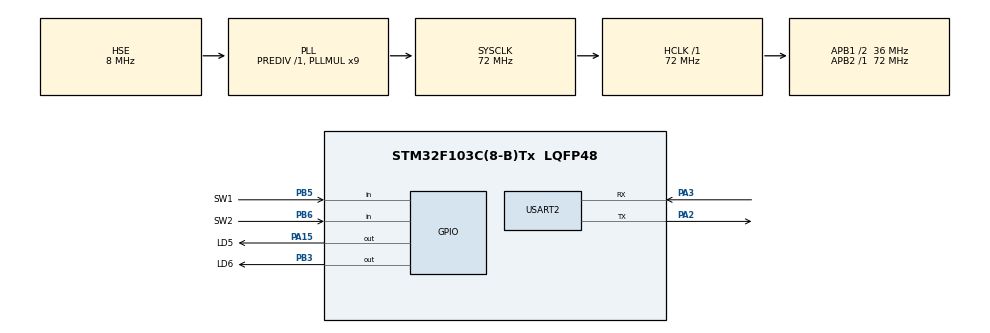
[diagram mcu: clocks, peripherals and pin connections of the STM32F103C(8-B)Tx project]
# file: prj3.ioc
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Mcu.Family=STM32F1
Mcu.Name=STM32F103C(8-B)Tx
Mcu.Package=LQFP48
NVIC.PriorityGroup=NVIC_PRIORITYGROUP_4
PA13.Mode=Serial_Wire
PA13.Signal=SYS_JTMS-SWDIO
PA14.Mode=Serial_Wire
PA14.Signal=SYS_JTCK-SWCLK
PA15.GPIO_Label=LD5
PA15.Signal=GPIO_Output
PA2.Mode=Asynchronous
PA2.Signal=USART2_TX
PA3.Mode=Asynchronous
PA3.Signal=USART2_RX
PB3.GPIO_Label=LD6
PB3.Signal=GPIO_Output
PB5.GPIO_Label=SW1
PB5.Signal=GPIO_Input
PB6.GPIO_Label=SW2
PB6.Signal=GPIO_Input
PD0-OSC_IN.Mode=HSE-External-Oscillator
PD0-OSC_IN.Signal=RCC_OSC_IN
PD1-OSC_OUT.Mode=HSE-External-Oscillator
PD1-OSC_OUT.Signal=RCC_OSC_OUT
ProjectManager.HeapSize=0x200
ProjectManager.StackSize=0x400
ProjectManager.TargetToolchain=MDK-ARM V5.32
RCC.AHBFreq_Value=72000000
RCC.APB1CLKDivider=RCC_HCLK_DIV2
RCC.APB1Freq_Value=36000000
RCC.APB1TimFreq_Value=72000000
RCC.APB2Freq_Value=72000000
RCC.APB2TimFreq_Value=72000000
RCC.HCLKFreq_Value=72000000
RCC.PLLMUL=RCC_PLL_MUL9
RCC.PLLSourceVirtual=RCC_PLLSOURCE_HSE
RCC.SYSCLKFreq_VALUE=72000000
RCC.SYSCLKSource=RCC_SYSCLKSOURCE_PLLCLK
RCC.USBFreq_Value=72000000
USART2.VirtualMode=VM_ASYNC
board=custom

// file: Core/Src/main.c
/* USER CODE BEGIN Header */
/**
  ******************************************************************************
  * @file           : main.c
  * @brief          : Main program body
  ******************************************************************************
  * @attention
  *
  * Copyright (c) 2024 STMicroelectronics.
  * All rights reserved.
  *
  * This software is licensed under terms that can be found in the LICENSE file
  * in the root directory of this software component.
  * If no LICENSE file comes with this software, it is provided AS-IS.
  *
  ******************************************************************************
  */
/* USER CODE END Header */
#include "main.h"
#include "usart.h"
#include "gpio.h"

/* USER CODE BEGIN Includes */
#include "string.h"
/* USER CODE END Includes */

/* USER CODE BEGIN PTD */
uint8_t debounce(void);
uint32_t lastPressTime = 0;
const uint32_t debounceDelay = 50;
uint32_t Time_SET = 0;
uint32_t Time_RESET = 0;
uint32_t check = 0;
uint32_t i = 0;
uint32_t flag = 0;
char result = '0';
uint32_t j = 0;

char arr[5];

// Morse code representation
const char *morseCodeMap[36] = {
    ".-",   // A
    "-...", // B
    "-.-.", // C
    "-..",  // D
    ".",    // E
    "..-.", // F
    "--.",  // G
    "....", // H
    "..",   // I
    ".---", // J
    "-.-",  // K
    ".-..", // L
    "--",   // M
    "-.",   // N
    "---",  // O
    ".--.", // P
    "--.-", // Q
    ".-.",  // R
    "...",  // S
    "-",    // T
    "..-",  // U
    "...-", // V
    ".--",  // W
    "-..-", // X
    "-.--", // Y
    "--..", // Z
    "-----", // 0
    ".----", // 1
    "..---", // 2
    "...--", // 3
    "....-", // 4
    ".....", // 5
    "-....", // 6
    "--...", // 7
    "---..", // 8
    "----."  // 9
};

/* USER CODE END PTD */

void SystemClock_Config(void);

/* USER CODE BEGIN 0 */
void dot(void)
{
//	  HAL_GPIO_WritePin(LD5_GPIO_Port, LD5_Pin, GPIO_PIN_SET);
//		HAL_Delay(200);
//		HAL_GPIO_WritePin(LD5_GPIO_Port, LD5_Pin, GPIO_PIN_RESET);
//		HAL_Delay(200);
		arr[i] = '.';
	  i++;
}

void dash(void)
{
//	  HAL_GPIO_WritePin(LD6_GPIO_Port, LD6_Pin, GPIO_PIN_SET);
//		HAL_Delay(600);
//		HAL_GPIO_WritePin(LD6_GPIO_Port, LD6_Pin, GPIO_PIN_RESET);
//		HAL_Delay(200);
		arr[i] = '-';
		i++;

}

char morseToChar(char morseCode[]) {
    for (int i = 0; i < 36; i++) {
        if (strcmp(morseCode, morseCodeMap[i]) == 0) {
						HAL_GPIO_TogglePin(LD6_GPIO_Port, LD6_Pin);
						return 'A' + i;
        }
    }
  //  return ""; // Return empty string for unsupported Morse code
}

void end(void)
{
	i = 0;
	result = morseToChar(arr);
	uint8_t result2 = (uint8_t ) result;
	HAL_UART_Transmit(&huart2, &result2, 1, 100);
	for(j = 0; j < 5; j++)
	{
		arr[j] = '0';
	}
}
/* USER CODE END 0 */

int main(void)
{

  /* MCU Configuration--------------------------------------------------------*/

  /* Reset of all peripherals, Initializes the Flash interface and the Systick. */
  HAL_Init();

  /* Configure the system clock */
  SystemClock_Config();

  /* Initialize all configured peripherals */
  MX_GPIO_Init();
  MX_USART2_UART_Init();

  /* Infinite loop */
  while (1)
  {

    /* USER CODE BEGIN 3 */

		if ((HAL_GPIO_ReadPin(SW2_GPIO_Port, SW2_Pin) == GPIO_PIN_RESET) && (check == 0) ){
			Time_RESET = HAL_GetTick();
			check = 1;
			flag = 0;
		}

    if ((HAL_GPIO_ReadPin(SW2_GPIO_Port, SW2_Pin) == GPIO_PIN_SET) && (check == 1)) {
      Time_SET = HAL_GetTick();
			flag = 1;
			if(Time_SET - Time_RESET>50 && Time_SET - Time_RESET<1000)
				dot();
			else if (Time_SET - Time_RESET>1000)
				dash();
			check = 0;
  }

	if(i == 5 || ((HAL_GetTick() -  Time_SET) > 3000 && flag == 1))
	{
		end();
		flag = 0;
	}

  /* USER CODE END 3 */
}
	}

void SystemClock_Config(void)
{
  RCC_OscInitTypeDef RCC_OscInitStruct = {0};
  RCC_ClkInitTypeDef RCC_ClkInitStruct = {0};

  /** Initializes the RCC Oscillators according to the specified parameters
  * in the RCC_OscInitTypeDef structure.
  */
  RCC_OscInitStruct.OscillatorType = RCC_OSCILLATORTYPE_HSE;
  RCC_OscInitStruct.HSEState = RCC_HSE_ON;
  RCC_OscInitStruct.HSEPredivValue = RCC_HSE_PREDIV_DIV1;
  RCC_OscInitStruct.HSIState = RCC_HSI_ON;
  RCC_OscInitStruct.PLL.PLLState = RCC_PLL_ON;
  RCC_OscInitStruct.PLL.PLLSource = RCC_PLLSOURCE_HSE;
  RCC_OscInitStruct.PLL.PLLMUL = RCC_PLL_MUL9;
  if (HAL_RCC_OscConfig(&RCC_OscInitStruct) != HAL_OK)
  {
    Error_Handler();
  }

  /** Initializes the CPU, AHB and APB buses clocks
  */
  RCC_ClkInitStruct.ClockType = RCC_CLOCKTYPE_HCLK|RCC_CLOCKTYPE_SYSCLK
                              |RCC_CLOCKTYPE_PCLK1|RCC_CLOCKTYPE_PCLK2;
  RCC_ClkInitStruct.SYSCLKSource = RCC_SYSCLKSOURCE_PLLCLK;
  RCC_ClkInitStruct.AHBCLKDivider = RCC_SYSCLK_DIV1;
  RCC_ClkInitStruct.APB1CLKDivider = RCC_HCLK_DIV2;
  RCC_ClkInitStruct.APB2CLKDivider = RCC_HCLK_DIV1;

  if (HAL_RCC_ClockConfig(&RCC_ClkInitStruct, FLASH_LATENCY_2) != HAL_OK)
  {
    Error_Handler();
  }
}

void Error_Handler(void)
{
  __disable_irq();
  while (1)
  {
  }
}
